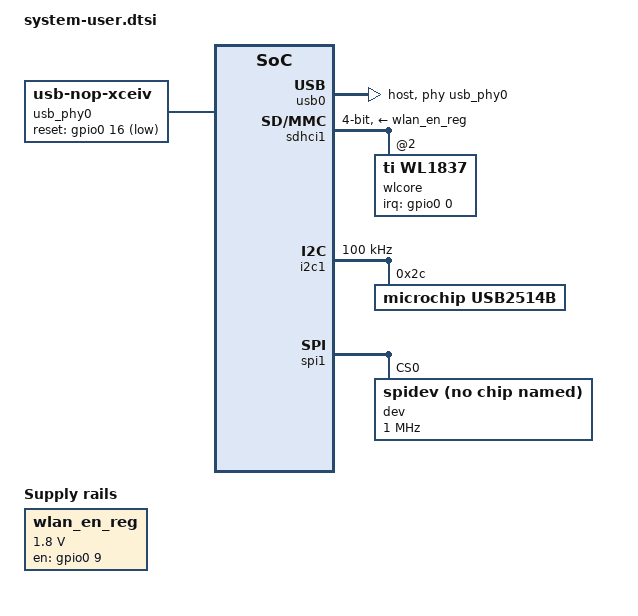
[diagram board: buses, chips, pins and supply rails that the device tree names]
#include <dt-bindings/gpio/gpio.h>
#include <dt-bindings/interrupt-controller/irq.h>

/include/ "system-conf.dtsi"
/ {
	wlan_en_reg: fixedregulator@2 {
		compatible = "regulator-fixed";
		regulator-name = "wlan-en-regulator";
		regulator-min-microvolt = <1800000>;
		regulator-max-microvolt = <1800000>;
		startup-delay-us = <70000>;

		/* WLAN_EN GPIO for this board - Bank1, pin16 */
		gpio = <&gpio0 9 GPIO_ACTIVE_HIGH>;
		enable-active-high;
	};
};

&usb0 {
	status = "okay";
	dr_mode = "host";
	usb-phy = <&usb_phy0>;
};

&amba {
    zyxclmm_drm {
        compatible = "xlnx,zocl";
        status = "okay";
    };

	usb_phy0: usb-phy0 {
		compatible = "usb-nop-xceiv";
		#phy-cells = <0>;
		reset-gpios = <&gpio0 16 1>;
		view-port = <0x170>;
		drv-vbus;
	};
};

&sdhci1 {
	/* Wi-Fi */
	vmmc-supply = <&wlan_en_reg>;
	bus-width = <4>;
	cap-power-off-card;
	keep-power-in-suspend;
	#address-cells = <1>;
	#size-cells = <0>;

	wlcore: wlcore@2 {
		compatible = "ti,wl1837";
		reg = <2>;
		interrupt-parent = <&gpio0>;
		interrupts = <0 IRQ_TYPE_LEVEL_HIGH>;
	};
};

&i2c1{
	/* USB Hub */
	status = "okay";
	clock-frequency = <100000>;
	
	usb2514b@2c {
		compatible = "microchip,usb2514b";
		reg = <0x2c>;
	};
};

&spi1 {
    status = "okay";
    num-cs = <1>;
    is-decoded-cs = <0>;
    #address-cells = <1>;
    #size-cells = <0>;

    dev@0 {
        compatible = "linux,spidev";
        reg = <0>;
        spi-max-frequency = <1000000>;
    };
};

